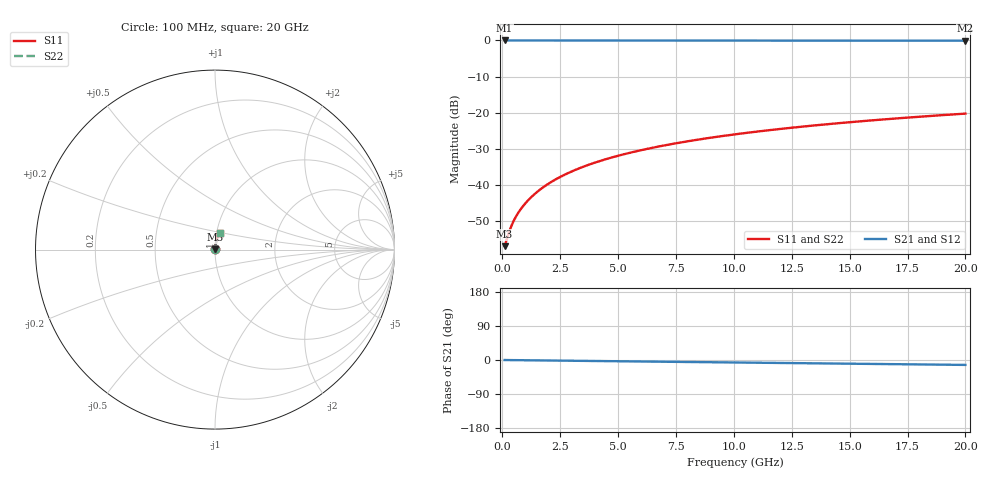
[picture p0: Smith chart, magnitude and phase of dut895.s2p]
! Touchstone file exported from HFSS 2026.1.0
!  File:  C:/ffzhzh/LocalFiles/Ansys_Project_Files/temp_train_BSMRDL_895_1783171320_18472.aedt
!  Generated:  09:23:13 PM Jul  4, 2026
!  Design:  BSMRDL
!  Project:  temp_train_BSMRDL_895_1783171320_18472
! Variables:
!  h_bsmrdl = 2.42um
!  h_ox = 20um
!  h_rdl = 5um
!  h_sub = 80um
!  h_tmrdl = 5um
!  h_tsv = 80um
!  h_via = 3um
!  l_bsmrdl = 174.91um
!  l_sub = 574.91um
!  l_tmrdl = 200um
!  m_sub = 200um
!  pitch = 43.72um
!  r_tsv = 6um
!  s_tmrdl = 10um
!  w_bsmrdl = 29.28um
!  w_sub = 500um
!  w_tmrdl = 12um
!  x_tsv_center1 = 206um
!  x_tsv_center2 = 410.19um
!  x_tsv_center3 = 622.19um
!  x_tsv_center4 = 826.38um
!  x_tsv_center5 = 1038.38um
!  x_tsv_center6 = 1242.57um
# GHz S MA R 50.000000
! Terminal data exported
! Port[1] = BSM_RDL1_1_T1
! Port[2] = BSM_RDL1_1_T2
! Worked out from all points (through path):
!   200 points, 100 MHz to 20 GHz, reference 50 ohm
!   highest |S21| = -0.01 dB at 100 MHz (marker M1); lowest = -0.1 dB at 20 GHz (marker M2)
!   group delay of S21, straight-line fit = 1.8 ps
!   lowest |S11| = -57.0 dB at 100 MHz (marker M3), VSWR 1.00, Z = 50.1 + j0.0615 ohm
!   |S11| at or under -10 dB: start of sweep to end of sweep
!   |S22| runs from -57.0 to -20.3 dB; largest |S21 - S12| = 3e-15
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0.1  0.001419 25.6  0.9987 -0.1  0.9987 -0.1  0.001419 25.6
! Gamma 0 0 0 0
! Port Impedance 50 0 50 0
0.3  0.002263 51.4  0.9986 -0.2  0.9986 -0.2  0.002263 51.4
0.4  0.002742 57.1  0.9985 -0.3  0.9985 -0.3  0.002742 57.1
0.5  0.003219 61.0  0.9985 -0.3  0.9985 -0.3  0.003219 61.0
0.6  0.003691 63.9  0.9984 -0.4  0.9984 -0.4  0.003691 63.9
0.8  0.004632 68.2  0.9983 -0.5  0.9983 -0.5  0.004632 68.2
1  0.005576 71.2  0.9982 -0.7  0.9982 -0.7  0.005576 71.2
1.2  0.00653 73.4  0.9982 -0.8  0.9982 -0.8  0.00653 73.4
1.4  0.007492 75.2  0.9982 -0.9  0.9982 -0.9  0.007492 75.2
1.7  0.008951 77.0  0.9981 -1.1  0.9981 -1.1  0.008951 77.0
2.2  0.01141 79.0  0.9981 -1.5  0.9981 -1.5  0.01141 79.0
2.8  0.01438 80.4  0.998 -1.8  0.998 -1.8  0.01438 80.4
3.5  0.01786 81.3  0.9978 -2.3  0.9978 -2.3  0.01786 81.3
4.2  0.02135 81.6  0.9977 -2.8  0.9977 -2.8  0.02135 81.6
5  0.02533 81.8  0.9975 -3.3  0.9975 -3.3  0.02533 81.8
5.9  0.02979 81.7  0.9973 -3.9  0.9973 -3.9  0.02979 81.7
6.8  0.03424 81.5  0.997 -4.5  0.997 -4.5  0.03424 81.5
8.3  0.0416 80.9  0.9965 -5.4  0.9965 -5.4  0.0416 80.9
10.1  0.05036 80.0  0.9958 -6.6  0.9958 -6.6  0.05036 80.0
13.4  0.0662 78.2  0.9943 -8.7  0.9943 -8.7  0.0662 78.3
16.7  0.08174 76.3  0.9927 -10.9  0.9927 -10.9  0.08174 76.3
20  0.097 74.4  0.9908 -13.0  0.9908 -13.0  0.097 74.4
